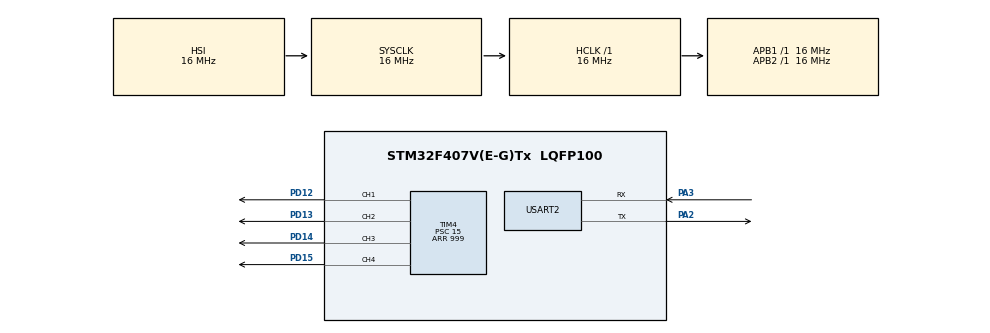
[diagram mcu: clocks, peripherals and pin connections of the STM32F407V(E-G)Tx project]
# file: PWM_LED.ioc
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Mcu.Family=STM32F4
Mcu.Name=STM32F407V(E-G)Tx
Mcu.Package=LQFP100
NVIC.PriorityGroup=NVIC_PRIORITYGROUP_4
PA2.Mode=Asynchronous
PA2.Signal=USART2_TX
PA3.Mode=Asynchronous
PA3.Signal=USART2_RX
PD12.Signal=S_TIM4_CH1
PD13.Signal=S_TIM4_CH2
PD14.Signal=S_TIM4_CH3
PD15.Signal=S_TIM4_CH4
ProjectManager.HeapSize=0x200
ProjectManager.StackSize=0x400
ProjectManager.TargetToolchain=STM32CubeIDE
RCC.AHBFreq_Value=16000000
RCC.APB1Freq_Value=16000000
RCC.APB2Freq_Value=16000000
RCC.CortexFreq_Value=16000000
RCC.HSE_VALUE=25000000
RCC.HSI_VALUE=16000000
RCC.LSE_VALUE=32768
RCC.SYSCLKFreq_VALUE=16000000
RCC.VCOOutputFreq_Value=192000000
SH.S_TIM4_CH1.0=TIM4_CH1,PWM Generation1 CH1
SH.S_TIM4_CH2.0=TIM4_CH2,PWM Generation2 CH2
SH.S_TIM4_CH3.0=TIM4_CH3,PWM Generation3 CH3
SH.S_TIM4_CH4.0=TIM4_CH4,PWM Generation4 CH4
TIM4.Channel-PWM\ Generation1\ CH1=TIM_CHANNEL_1
TIM4.Channel-PWM\ Generation2\ CH2=TIM_CHANNEL_2
TIM4.Channel-PWM\ Generation3\ CH3=TIM_CHANNEL_3
TIM4.Channel-PWM\ Generation4\ CH4=TIM_CHANNEL_4
TIM4.Period=999
TIM4.Prescaler=15
TIM4.Pulse-PWM\ Generation1\ CH1=500
TIM4.Pulse-PWM\ Generation2\ CH2=500
TIM4.Pulse-PWM\ Generation3\ CH3=500
TIM4.Pulse-PWM\ Generation4\ CH4=500
USART2.VirtualMode=VM_ASYNC
VP_TIM4_VS_ClockSourceINT.Mode=Internal
board=custom

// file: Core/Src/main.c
/* USER CODE BEGIN Header */
/**
  ******************************************************************************
  * @file           : main.c
  * @brief          : Main program body
  ******************************************************************************
  * @attention
  *
  * Copyright (c) 2026 STMicroelectronics.
  * All rights reserved.
  *
  * This software is licensed under terms that can be found in the LICENSE file
  * in the root directory of this software component.
  * If no LICENSE file comes with this software, it is provided AS-IS.
  *
  ******************************************************************************
  */
/* USER CODE END Header */
#include "main.h"

/* USER CODE BEGIN Includes */
#include <stdio.h>
/* USER CODE END Includes */

TIM_HandleTypeDef htim4;

UART_HandleTypeDef huart2;

void SystemClock_Config(void);
static void MX_GPIO_Init(void);
static void MX_TIM4_Init(void);
static void MX_USART2_UART_Init(void);

int main(void)
{

  /* MCU Configuration--------------------------------------------------------*/

  /* Reset of all peripherals, Initializes the Flash interface and the Systick. */
  HAL_Init();

  /* Configure the system clock */
  SystemClock_Config();

  /* Initialize all configured peripherals */
  MX_GPIO_Init();
  MX_TIM4_Init();
  MX_USART2_UART_Init();
  /* USER CODE BEGIN 2 */
  HAL_TIM_PWM_Start(&htim4, TIM_CHANNEL_1);
  HAL_TIM_PWM_Start(&htim4, TIM_CHANNEL_2);
  HAL_TIM_PWM_Start(&htim4, TIM_CHANNEL_3);
  HAL_TIM_PWM_Start(&htim4, TIM_CHANNEL_4);
  /* USER CODE END 2 */

  /* Infinite loop */
  while (1)
  {

    /* USER CODE BEGIN 3 */

	  for (uint16_t i = 0; i <= 999; i++)
	  {
		  __HAL_TIM_SET_COMPARE(&htim4, TIM_CHANNEL_1, i);
		  __HAL_TIM_SET_COMPARE(&htim4, TIM_CHANNEL_2, i);
		  __HAL_TIM_SET_COMPARE(&htim4, TIM_CHANNEL_3, i);
		  __HAL_TIM_SET_COMPARE(&htim4, TIM_CHANNEL_4, i);
		  HAL_Delay(2);
	  }

	  for (uint16_t i = 999; i > 0; i--)
	  	  {
	  		  __HAL_TIM_SET_COMPARE(&htim4, TIM_CHANNEL_1, i);
	  		  __HAL_TIM_SET_COMPARE(&htim4, TIM_CHANNEL_2, i);
	  		  __HAL_TIM_SET_COMPARE(&htim4, TIM_CHANNEL_3, i);
	  		  __HAL_TIM_SET_COMPARE(&htim4, TIM_CHANNEL_4, i);
	  		HAL_Delay(2);
	  	  }

  }
  /* USER CODE END 3 */
}

void SystemClock_Config(void)
{
  RCC_OscInitTypeDef RCC_OscInitStruct = {0};
  RCC_ClkInitTypeDef RCC_ClkInitStruct = {0};

  /** Configure the main internal regulator output voltage
  */
  __HAL_RCC_PWR_CLK_ENABLE();
  __HAL_PWR_VOLTAGESCALING_CONFIG(PWR_REGULATOR_VOLTAGE_SCALE1);

  /** Initializes the RCC Oscillators according to the specified parameters
  * in the RCC_OscInitTypeDef structure.
  */
  RCC_OscInitStruct.OscillatorType = RCC_OSCILLATORTYPE_HSI;
  RCC_OscInitStruct.HSIState = RCC_HSI_ON;
  RCC_OscInitStruct.HSICalibrationValue = RCC_HSICALIBRATION_DEFAULT;
  RCC_OscInitStruct.PLL.PLLState = RCC_PLL_NONE;
  if (HAL_RCC_OscConfig(&RCC_OscInitStruct) != HAL_OK)
  {
    Error_Handler();
  }

  /** Initializes the CPU, AHB and APB buses clocks
  */
  RCC_ClkInitStruct.ClockType = RCC_CLOCKTYPE_HCLK|RCC_CLOCKTYPE_SYSCLK
                              |RCC_CLOCKTYPE_PCLK1|RCC_CLOCKTYPE_PCLK2;
  RCC_ClkInitStruct.SYSCLKSource = RCC_SYSCLKSOURCE_HSI;
  RCC_ClkInitStruct.AHBCLKDivider = RCC_SYSCLK_DIV1;
  RCC_ClkInitStruct.APB1CLKDivider = RCC_HCLK_DIV1;
  RCC_ClkInitStruct.APB2CLKDivider = RCC_HCLK_DIV1;

  if (HAL_RCC_ClockConfig(&RCC_ClkInitStruct, FLASH_LATENCY_0) != HAL_OK)
  {
    Error_Handler();
  }
}

static void MX_TIM4_Init(void)
{

  TIM_ClockConfigTypeDef sClockSourceConfig = {0};
  TIM_MasterConfigTypeDef sMasterConfig = {0};
  TIM_OC_InitTypeDef sConfigOC = {0};

  htim4.Instance = TIM4;
  htim4.Init.Prescaler = 15;
  htim4.Init.CounterMode = TIM_COUNTERMODE_UP;
  htim4.Init.Period = 999;
  htim4.Init.ClockDivision = TIM_CLOCKDIVISION_DIV1;
  htim4.Init.AutoReloadPreload = TIM_AUTORELOAD_PRELOAD_DISABLE;
  if (HAL_TIM_Base_Init(&htim4) != HAL_OK)
  {
    Error_Handler();
  }
  sClockSourceConfig.ClockSource = TIM_CLOCKSOURCE_INTERNAL;
  if (HAL_TIM_ConfigClockSource(&htim4, &sClockSourceConfig) != HAL_OK)
  {
    Error_Handler();
  }
  if (HAL_TIM_PWM_Init(&htim4) != HAL_OK)
  {
    Error_Handler();
  }
  sMasterConfig.MasterOutputTrigger = TIM_TRGO_RESET;
  sMasterConfig.MasterSlaveMode = TIM_MASTERSLAVEMODE_DISABLE;
  if (HAL_TIMEx_MasterConfigSynchronization(&htim4, &sMasterConfig) != HAL_OK)
  {
    Error_Handler();
  }
  sConfigOC.OCMode = TIM_OCMODE_PWM1;
  sConfigOC.Pulse = 500;
  sConfigOC.OCPolarity = TIM_OCPOLARITY_HIGH;
  sConfigOC.OCFastMode = TIM_OCFAST_DISABLE;
  if (HAL_TIM_PWM_ConfigChannel(&htim4, &sConfigOC, TIM_CHANNEL_1) != HAL_OK)
  {
    Error_Handler();
  }
  if (HAL_TIM_PWM_ConfigChannel(&htim4, &sConfigOC, TIM_CHANNEL_2) != HAL_OK)
  {
    Error_Handler();
  }
  if (HAL_TIM_PWM_ConfigChannel(&htim4, &sConfigOC, TIM_CHANNEL_3) != HAL_OK)
  {
    Error_Handler();
  }
  if (HAL_TIM_PWM_ConfigChannel(&htim4, &sConfigOC, TIM_CHANNEL_4) != HAL_OK)
  {
    Error_Handler();
  }
  HAL_TIM_MspPostInit(&htim4);

}

static void MX_USART2_UART_Init(void)
{

  huart2.Instance = USART2;
  huart2.Init.BaudRate = 115200;
  huart2.Init.WordLength = UART_WORDLENGTH_8B;
  huart2.Init.StopBits = UART_STOPBITS_1;
  huart2.Init.Parity = UART_PARITY_NONE;
  huart2.Init.Mode = UART_MODE_TX_RX;
  huart2.Init.HwFlowCtl = UART_HWCONTROL_NONE;
  huart2.Init.OverSampling = UART_OVERSAMPLING_16;
  if (HAL_UART_Init(&huart2) != HAL_OK)
  {
    Error_Handler();
  }

}

static void MX_GPIO_Init(void)
{

  /* GPIO Ports Clock Enable */
  __HAL_RCC_GPIOA_CLK_ENABLE();
  __HAL_RCC_GPIOD_CLK_ENABLE();

}

void Error_Handler(void)
{
  __disable_irq();
  while (1)
  {
  }
}
